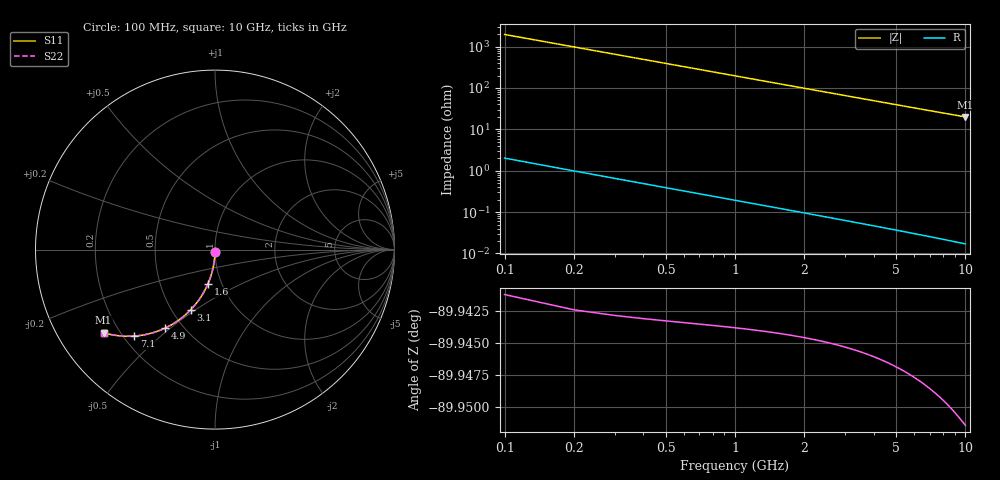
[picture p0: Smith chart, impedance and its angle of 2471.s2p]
# Hz S RI R 50.00
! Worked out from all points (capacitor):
!   100 points, 100 MHz to 10 GHz, reference 50 ohm
!   read as one part in shunt: C = 807 fF near 100 MHz
!   lowest |Z| = 20.1 ohm at 10 GHz (marker M1)
!   S11 on the Smith chart (normalised r, x): 100 MHz: 1.00, -0.02; 1.6 GHz: 0.86, -0.34; 3.1 GHz: 0.62, -0.48; 4.9 GHz: 0.40, -0.48; 7.1 GHz: 0.24, -0.41; 10 GHz: 0.14, -0.33
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1e8  -5.31e-05 -0.0125  0.9997 -0.0129  0.9997 -0.0129  -5.31e-05 -0.0125
2e8  -0.000547 -0.0249  0.9992 -0.0258  0.9992 -0.0258  -0.000547 -0.0249
3e8  -0.00136 -0.0374  0.9984 -0.0386  0.9984 -0.0386  -0.00136 -0.0374
4e8  -0.00249 -0.0497  0.9973 -0.0514  0.9973 -0.0514  -0.00249 -0.0497
5e8  -0.00394 -0.0621  0.9958 -0.0642  0.9958 -0.0642  -0.00394 -0.0621
6e8  -0.00571 -0.0744  0.994 -0.0769  0.994 -0.0769  -0.00571 -0.0744
7e8  -0.00778 -0.0866  0.992 -0.0896  0.992 -0.0896  -0.00778 -0.0866
9e8  -0.0128 -0.1107  0.9869 -0.1146  0.9869 -0.1146  -0.0128 -0.1107
1.2e9  -0.0227 -0.1462  0.9771 -0.1513  0.9771 -0.1513  -0.0227 -0.1462
1.6e9  -0.0396 -0.1915  0.9601 -0.1983  0.9601 -0.1983  -0.0396 -0.1915
1.8e9  -0.0496 -0.2131  0.9501 -0.2208  0.9501 -0.2208  -0.0496 -0.2131
2.4e9  -0.085 -0.2735  0.9147 -0.2837  0.9147 -0.2837  -0.085 -0.2735
3.1e9  -0.1342 -0.334  0.8654 -0.3471  0.8654 -0.3471  -0.1342 -0.334
3.4e9  -0.1572 -0.3564  0.8424 -0.3709  0.8424 -0.3709  -0.1572 -0.3564
4.1e9  -0.2135 -0.4007  0.7861 -0.4181  0.7861 -0.4181  -0.2135 -0.4007
4.9e9  -0.2796 -0.438  0.7199 -0.4589  0.7199 -0.4589  -0.2796 -0.438
5.1e9  -0.2961 -0.4452  0.7034 -0.467  0.7034 -0.467  -0.2961 -0.4452
5.9e9  -0.3605 -0.4671  0.6389 -0.4923  0.6389 -0.4923  -0.3605 -0.4671
6.7e9  -0.4213 -0.479  0.578 -0.5077  0.578 -0.5077  -0.4213 -0.479
7.1e9  -0.4501 -0.4818  0.5492 -0.5122  0.5492 -0.5122  -0.4501 -0.4818
8.4e9  -0.5347 -0.4802  0.4643 -0.5163  0.4643 -0.5163  -0.5347 -0.4802
1e10  -0.6207 -0.4629  0.378 -0.5061  0.378 -0.5061  -0.6207 -0.4629
